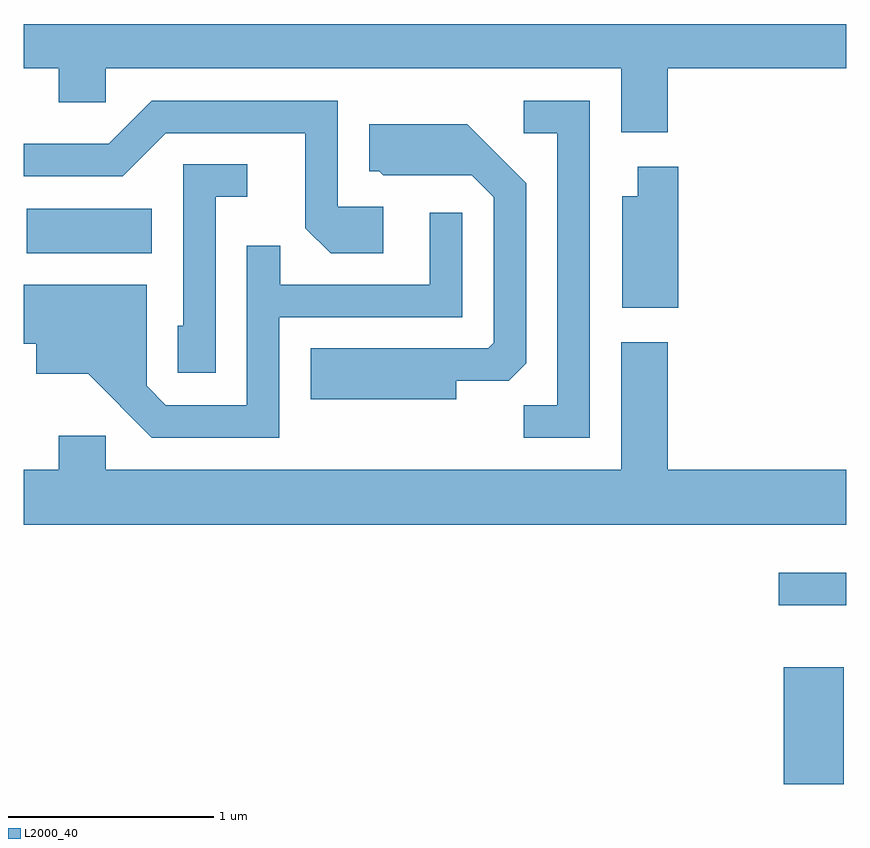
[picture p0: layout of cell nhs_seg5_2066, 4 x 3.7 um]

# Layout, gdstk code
import gdstk
lib = gdstk.Library(unit=1e-6, precision=1e-09)
def R(c, l, rs):  # rectangles x0, y0, x1, y1
    for r in rs: c.add(gdstk.rectangle(r[:2], r[2:], *l))
def P(c, l, *ps):  # polygons
    for p in ps: c.add(gdstk.Polygon(p, *l))
L2000_40 = (2000, 40)

nhs_seg5_2066 = lib.new_cell('nhs_seg5_2066')
R(nhs_seg5_2066, L2000_40, [(249.306,1504.376,249.599,1504.944), (249.283,1505.246,249.611,1505.404), (245.626,1506.956,246.234,1507.174)])
P(nhs_seg5_2066, L2000_40, [(248.744,1507.856),(249.611,1507.856),(249.611,1508.072),(245.611,1508.072),(245.611,1507.856),(245.781,1507.856),(245.781,1507.691),(246.009,1507.691),(246.009,1507.856),(248.516,1507.856),(248.516,1507.546),(248.744,1507.546)],
  [(248.364,1507.699),(248.043,1507.699),(248.043,1507.541),(248.206,1507.541),(248.206,1506.219),(248.043,1506.219),(248.043,1506.061),(248.364,1506.061)],
  [(247.359,1507.184),(247.139,1507.184),(247.139,1507.699),(246.234,1507.699),(246.024,1507.489),(245.611,1507.489),(245.611,1507.331),(246.092,1507.331),(246.302,1507.541),(246.981,1507.541),(246.981,1507.079),(247.104,1506.956),(247.359,1506.956)],
  [(247.714,1506.336),(247.969,1506.336),(248.054,1506.422),(248.054,1507.297),(247.767,1507.584),(247.291,1507.584),(247.291,1507.356),(247.339,1507.356),(247.359,1507.336),(247.789,1507.336),(247.896,1507.229),(247.896,1506.522),(247.869,1506.494),(247.006,1506.494),(247.006,1506.246),(247.714,1506.246)],
  [(246.544,1507.231),(246.698,1507.231),(246.698,1507.389),(246.386,1507.389),(246.386,1506.604),(246.361,1506.604),(246.361,1506.376),(246.544,1506.376)],
  [(248.794,1507.379),(248.596,1507.379),(248.596,1507.234),(248.521,1507.234),(248.521,1506.691),(248.794,1506.691)],
  [(246.854,1506.646),(247.744,1506.646),(247.744,1507.153),(247.586,1507.153),(247.586,1506.804),(246.859,1506.804),(246.859,1506.993),(246.696,1506.993),(246.696,1506.219),(246.302,1506.219),(246.209,1506.312),(246.209,1506.804),(245.611,1506.804),(245.611,1506.516),(245.671,1506.516),(245.671,1506.371),(245.924,1506.371),(246.234,1506.061),(246.854,1506.061)],
  [(249.611,1505.904),(248.744,1505.904),(248.744,1506.524),(248.516,1506.524),(248.516,1505.904),(246.009,1505.904),(246.009,1506.069),(245.781,1506.069),(245.781,1505.904),(245.611,1505.904),(245.611,1505.636),(249.611,1505.636)])

lib.write_gds('nhs_seg5_2066.gds')
